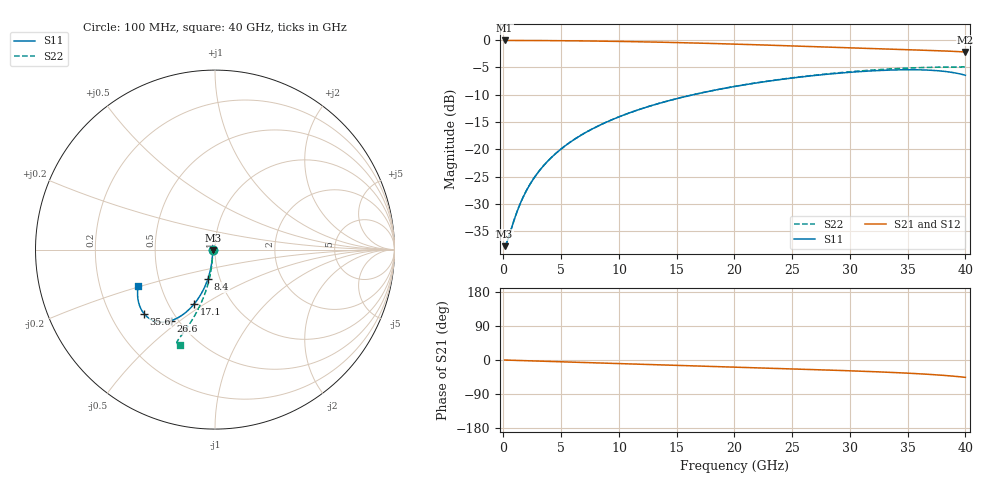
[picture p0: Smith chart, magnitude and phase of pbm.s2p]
! B_s8_L1L3_bd_d300: physics-based via model (prototype), ports at the via
# Hz S RI R 50
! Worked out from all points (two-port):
!   400 points, 100 MHz to 40 GHz, reference 50 ohm
!   highest |S21| = -0.11 dB at 100 MHz (marker M1); lowest = -2.2 dB at 40 GHz (marker M2)
!   |S21| within 3 dB of the highest: start of sweep to end of sweep
!   lowest |S11| = -37.7 dB at 100 MHz (marker M3), VSWR 1.03, Z = 48.7 - j0.193 ohm
!   |S11| at or under -10 dB: start of sweep to 16.5 GHz
!   |S22| runs from -37.7 to -5.0 dB; largest |S21 - S12| = 0
!   S11 on the Smith chart (normalised r, x): 100 MHz: 0.97, -0.00; 8.4 GHz: 0.88, -0.29; 17.1 GHz: 0.67, -0.45; 26.6 GHz: 0.46, -0.46; 35.6 GHz: 0.35, -0.34; 40 GHz: 0.37, -0.20
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1e8  -0.0129 -0.00198  0.9871 -0.00165  0.9871 -0.00165  -0.0129 -0.00199
4e8  -0.0129 -0.00793  0.9871 -0.00661  0.9871 -0.00661  -0.0129 -0.00796
1e9  -0.0132 -0.0198  0.9868 -0.0165  0.9868 -0.0165  -0.0131 -0.0199
1.5e9  -0.0137 -0.0297  0.9864 -0.0248  0.9864 -0.0248  -0.0135 -0.0298
2.1e9  -0.0145 -0.0416  0.9857 -0.0347  0.9857 -0.0347  -0.0141 -0.0417
2.7e9  -0.0156 -0.0534  0.9847 -0.0445  0.9847 -0.0445  -0.0149 -0.0536
3.5e9  -0.0175 -0.0691  0.983 -0.0576  0.983 -0.0576  -0.0162 -0.0694
4.5e9  -0.0205 -0.0886  0.9803 -0.0739  0.9803 -0.0739  -0.0184 -0.0891
5.6e9  -0.0247 -0.1098  0.9766 -0.0917  0.9766 -0.0917  -0.0215 -0.1105
6.8e9  -0.0303 -0.1327  0.9717 -0.1108  0.9717 -0.1108  -0.0255 -0.1337
8.4e9  -0.0393 -0.1624  0.9637 -0.1359  0.9637 -0.1359  -0.032 -0.1641
1.07e10  -0.0554 -0.2037  0.9496 -0.1709  0.9496 -0.1709  -0.0434 -0.2067
1.34e10  -0.0787 -0.2491  0.9293 -0.21  0.9293 -0.21  -0.0596 -0.2545
1.71e10  -0.1177 -0.3046  0.8956 -0.2597  0.8956 -0.2597  -0.0856 -0.3156
2.01e10  -0.1546 -0.3427  0.8643 -0.2966  0.8643 -0.2966  -0.1091 -0.3607
2.66e10  -0.2479 -0.3972  0.7872 -0.3675  0.7872 -0.3675  -0.1613 -0.4425
2.67e10  -0.2494 -0.3977  0.7859 -0.3686  0.7859 -0.3686  -0.1621 -0.4436
3.03e10  -0.3074 -0.4041  0.7385 -0.4059  0.7385 -0.4059  -0.1878 -0.4783
3.34e10  -0.3594 -0.3881  0.6936 -0.4413  0.6936 -0.4413  -0.2048 -0.5014
3.56e10  -0.3951 -0.3575  0.6567 -0.4714  0.6567 -0.4714  -0.2114 -0.5135
3.8e10  -0.4258 -0.2941  0.6047 -0.5125  0.6047 -0.5125  -0.2093 -0.523
4e10  -0.428 -0.2041  0.5401 -0.5548  0.5401 -0.5548  -0.1945 -0.5308
